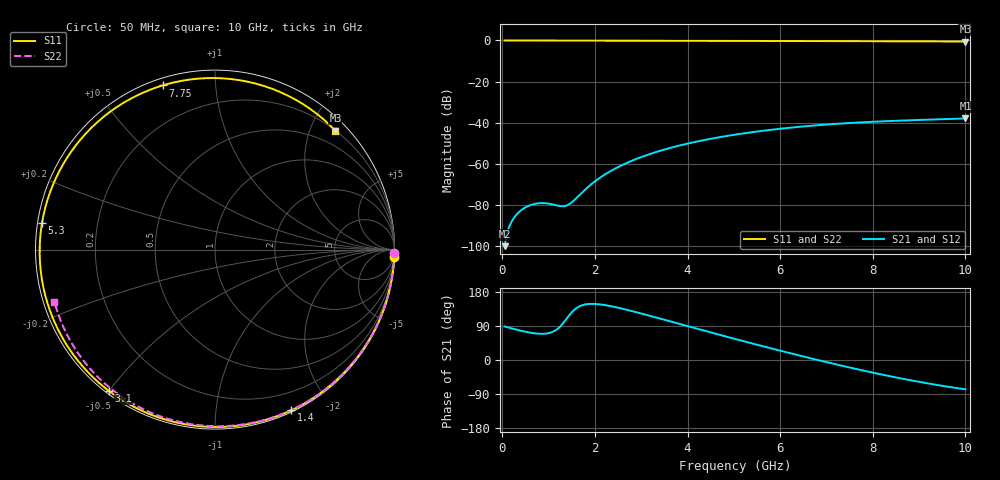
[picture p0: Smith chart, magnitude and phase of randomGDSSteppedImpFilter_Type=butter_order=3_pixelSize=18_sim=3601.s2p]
! freq	dB(S11)	phase(S11)	dB(S12)	phase(S12)
!  dB(S21)	phase(S21)	dB(S22)	phase(S22)
!S-par simulation data
#  GHz  S  DB  R 50
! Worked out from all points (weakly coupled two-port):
!   200 points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, 50 MHz to 10 GHz, reference 50 ohm
!   highest |S21| = -37.86 dB at 10 GHz (marker M1); lowest = -99.9 dB at 50 MHz (marker M2)
!   lowest |S11| = -0.5 dB at 10 GHz (marker M3), VSWR 33.84, Z = 10.2 + j121 ohm
!   |S11| at or under -10 dB: nowhere
!   |S22| runs from -0.5 to 0.0 dB; largest |S21 - S12| = 0
!   S11 on the Smith chart (normalised r, x): 50 MHz: 0, -47; 1.4 GHz: 0.02, -1.58; 3.1 GHz: 0.01, -0.50; 5.3 GHz: 0.01, +0.08; 7.75 GHz: 0.03, +0.73; 10 GHz: 0.20, +2.42
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0.05  -0.00 -2.4  -99.85 88.5  -99.85 88.5  -0.00 -1.0
0.35  -0.02 -16.9  -83.51 78.8  -83.51 78.8  -0.01 -6.6
0.65  -0.04 -31.1  -79.63 71.2  -79.63 71.2  -0.02 -12.3
0.9  -0.05 -42.6  -78.97 69.2  -78.97 69.2  -0.02 -17.0
1.4  -0.08 -64.6  -80.03 110.7  -80.03 110.7  -0.03 -26.3
1.5  -0.08 -68.8  -78.57 125.8  -78.57 125.8  -0.04 -28.1
1.75  -0.09 -79.0  -73.19 145.4  -73.19 145.4  -0.04 -32.7
2.05  -0.10 -90.7  -67.56 147.5  -67.56 147.5  -0.05 -38.1
2.35  -0.11 -101.7  -63.25 141.9  -63.25 141.9  -0.06 -43.5
2.7  -0.12 -113.9  -59.33 132.2  -59.33 132.2  -0.06 -49.7
3.1  -0.13 -127.0  -55.80 119.5  -55.80 119.5  -0.07 -56.7
3.4  -0.14 -136.3  -53.61 109.5  -53.61 109.5  -0.08 -61.9
4.2  -0.17 -159.4  -49.08 82.7  -49.08 82.7  -0.11 -75.3
5.05  -0.21 177.8  -45.63 54.7  -45.63 54.7  -0.14 -88.9
5.3  -0.22 171.3  -44.81 46.7  -44.81 46.7  -0.15 -92.9
6  -0.25 153.3  -42.86 24.6  -42.86 24.6  -0.18 -103.6
6.7  -0.29 135.3  -41.35 3.3  -41.35 3.3  -0.22 -114.1
7.25  -0.32 121.0  -40.42 -12.8  -40.42 -12.8  -0.26 -122.2
7.75  -0.35 107.7  -39.75 -26.7  -39.75 -26.7  -0.30 -129.5
8.35  -0.39 91.4  -39.12 -42.3  -39.12 -42.3  -0.35 -138.1
9.15  -0.44 69.0  -38.48 -60.9  -38.48 -60.9  -0.43 -149.6
10  -0.51 44.6  -37.86 -77.3  -37.86 -77.3  -0.54 -162.1
